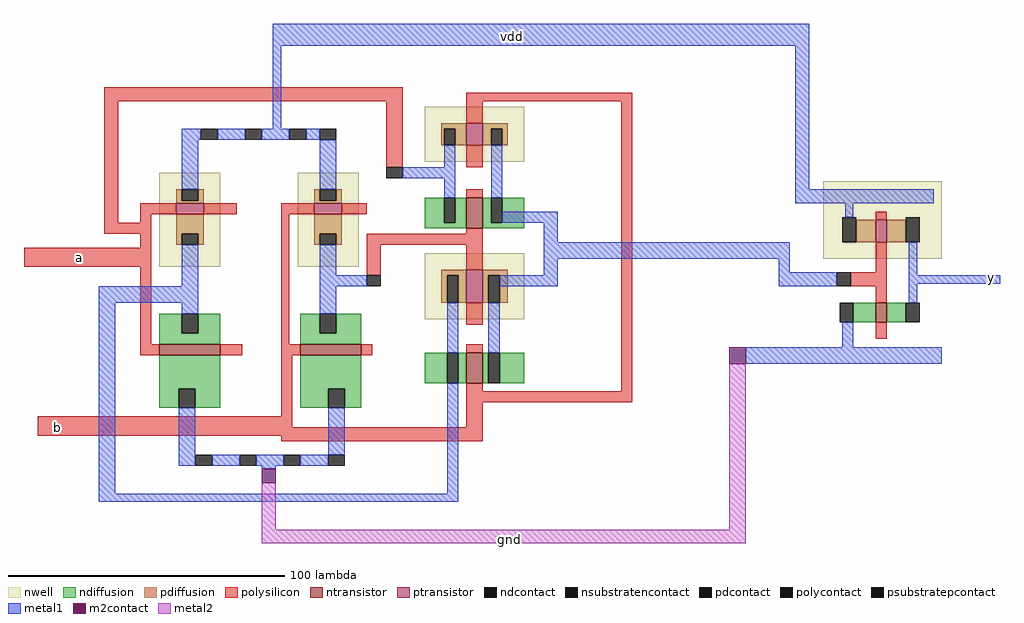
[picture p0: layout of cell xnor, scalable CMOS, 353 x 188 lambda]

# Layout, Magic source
magic
tech scmos
<< polysilicon >>
rect -54 80 -8 87
rect -49 19 42 26
<< metal1 >>
rect 36 160 230 168
rect 36 126 39 160
rect 225 108 230 160
rect 225 103 238 108
rect 135 83 223 89
rect 219 78 223 83
rect 219 73 230 78
rect 273 74 299 77
rect 207 45 237 51
rect 32 7 37 12
<< m2contact >>
rect 201 45 207 51
rect 32 2 37 7
<< metal2 >>
rect 32 -15 37 2
rect 201 -15 207 45
rect 32 -20 207 -15
use not  not_0
transform 1 0 237 0 1 73
box -7 -28 41 38
use XOR  XOR_0
transform 1 0 29 0 1 81
box -56 -86 137 64
<< labels >>
rlabel polysilicon -35 82 -33 85 1 a
rlabel polysilicon -43 21 -41 23 1 b
rlabel metal1 296 76 296 76 7 y
rlabel metal1 122 163 123 164 5 vdd
rlabel metal2 121 -19 122 -18 1 gnd
<< end >>

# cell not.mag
magic
tech scmos
<< nwell >>
rect -2 10 41 38
<< ntransistor >>
rect 17 -13 21 -6
<< ptransistor >>
rect 17 16 21 24
<< ndiffusion >>
rect 9 -13 17 -6
rect 21 -13 28 -6
<< pdiffusion >>
rect 10 16 17 24
rect 21 16 28 24
<< ndcontact >>
rect 4 -13 9 -6
rect 28 -13 33 -6
<< pdcontact >>
rect 5 16 10 25
rect 28 16 33 25
<< polysilicon >>
rect 17 24 21 27
rect 17 5 21 16
rect 8 0 21 5
rect 17 -6 21 0
rect 17 -19 21 -13
<< polycontact >>
rect 3 0 8 5
<< metal1 >>
rect 0 30 38 35
rect 6 25 9 30
rect -7 0 3 5
rect 29 4 32 16
rect 29 1 37 4
rect 29 -6 32 1
rect 5 -22 9 -13
rect -2 -28 41 -22
<< labels >>
rlabel metal1 16 31 21 33 1 vdd
rlabel metal1 29 1 37 4 1 out
rlabel metal1 -6 1 2 4 3 in
rlabel metal1 17 -27 25 -24 1 gnd
<< end >>

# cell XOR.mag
magic
tech scmos
<< nwell >>
rect 62 37 98 57
rect -34 -1 -12 33
rect 16 -1 38 33
rect 62 -20 98 4
<< ntransistor >>
rect 77 13 83 24
rect -34 -33 -12 -29
rect 17 -33 39 -29
rect 77 -43 83 -32
<< ptransistor >>
rect 77 43 83 51
rect -28 18 -18 22
rect 22 18 32 22
rect 77 -14 83 -2
<< ndiffusion >>
rect -34 -25 -26 -18
rect -20 -25 -12 -18
rect -34 -29 -12 -25
rect 62 15 69 24
rect 73 15 77 24
rect 62 13 77 15
rect 83 15 86 24
rect 90 15 98 24
rect 83 13 98 15
rect 17 -25 24 -18
rect 30 -25 39 -18
rect 17 -29 39 -25
rect -34 -45 -12 -33
rect -34 -52 -27 -45
rect -21 -52 -12 -45
rect 17 -45 39 -33
rect 62 -43 70 -32
rect 74 -43 77 -32
rect 83 -43 85 -32
rect 89 -43 98 -32
rect 17 -52 27 -45
rect 33 -52 39 -45
<< pdiffusion >>
rect 68 49 77 51
rect 68 43 69 49
rect 73 43 77 49
rect 83 49 92 51
rect 83 43 86 49
rect 90 43 92 49
rect -28 23 -26 27
rect -20 23 -18 27
rect -28 22 -18 23
rect 22 23 24 27
rect 30 23 32 27
rect 22 22 32 23
rect -28 11 -18 18
rect -28 7 -26 11
rect -20 7 -18 11
rect 22 11 32 18
rect 22 7 24 11
rect 30 7 32 11
rect 68 -4 77 -2
rect 68 -14 70 -4
rect 74 -14 77 -4
rect 83 -4 92 -2
rect 83 -14 85 -4
rect 89 -14 92 -4
<< ndcontact >>
rect -26 -25 -20 -18
rect 69 15 73 24
rect 86 15 90 24
rect 24 -25 30 -18
rect -27 -52 -21 -45
rect 70 -43 74 -32
rect 85 -43 89 -32
rect 27 -52 33 -45
<< pdcontact >>
rect 69 43 73 49
rect 86 43 90 49
rect -26 23 -20 27
rect 24 23 30 27
rect -26 7 -20 11
rect 24 7 30 11
rect 70 -14 74 -4
rect 85 -14 89 -4
<< psubstratepcontact >>
rect -21 -73 -15 -69
rect -5 -73 1 -69
rect 11 -73 17 -69
rect 27 -73 33 -69
<< nsubstratencontact >>
rect -19 45 -13 49
rect -3 45 3 49
rect 13 45 19 49
rect 24 45 30 49
<< polysilicon >>
rect -54 59 54 64
rect -54 15 -49 59
rect 48 35 54 59
rect 77 59 137 62
rect 77 51 83 59
rect 77 35 83 43
rect 77 24 83 27
rect -41 18 -28 22
rect -18 18 -6 22
rect 10 18 22 22
rect 32 18 41 22
rect -41 15 -37 18
rect -54 11 -37 15
rect -41 -29 -37 11
rect 10 -29 13 18
rect 77 11 83 13
rect 41 7 83 11
rect 41 -4 46 7
rect 77 -2 83 7
rect 77 -22 83 -14
rect -41 -33 -34 -29
rect -12 -33 -4 -29
rect 10 -33 17 -29
rect 39 -33 43 -29
rect 77 -32 83 -29
rect 10 -59 14 -33
rect 77 -46 83 -43
rect 133 -46 137 59
rect 77 -50 137 -46
rect 77 -59 83 -50
rect 10 -64 83 -59
<< polycontact >>
rect 48 31 54 35
rect 41 -8 46 -4
<< metal1 >>
rect -26 45 -19 49
rect -13 45 -3 49
rect 3 45 13 49
rect 19 45 24 49
rect -26 27 -20 45
rect 24 27 30 45
rect 69 35 73 43
rect 54 31 73 35
rect 69 24 73 31
rect 86 24 90 43
rect 90 15 110 19
rect -26 -8 -20 7
rect -56 -14 -20 -8
rect -56 -83 -50 -14
rect -26 -18 -20 -14
rect 24 -4 30 7
rect 105 -4 110 15
rect 24 -8 41 -4
rect 24 -18 30 -8
rect 70 -32 74 -14
rect 89 -8 110 -4
rect 85 -32 89 -14
rect -27 -73 -21 -52
rect 27 -69 33 -52
rect -15 -73 -5 -69
rect 1 -73 11 -69
rect 17 -73 27 -69
rect 70 -83 74 -43
rect -56 -86 74 -83
<< labels >>
rlabel polysilicon -40 -4 -39 -3 3 a
rlabel polysilicon 11 -5 12 -4 1 b
rlabel metal1 -24 -8 -23 -7 1 abar
rlabel metal1 27 -7 28 -6 1 bbar
rlabel metal1 14 47 15 48 5 vdd
rlabel metal1 12 -72 13 -71 1 gnd
rlabel metal1 106 6 107 7 1 out
<< end >>
